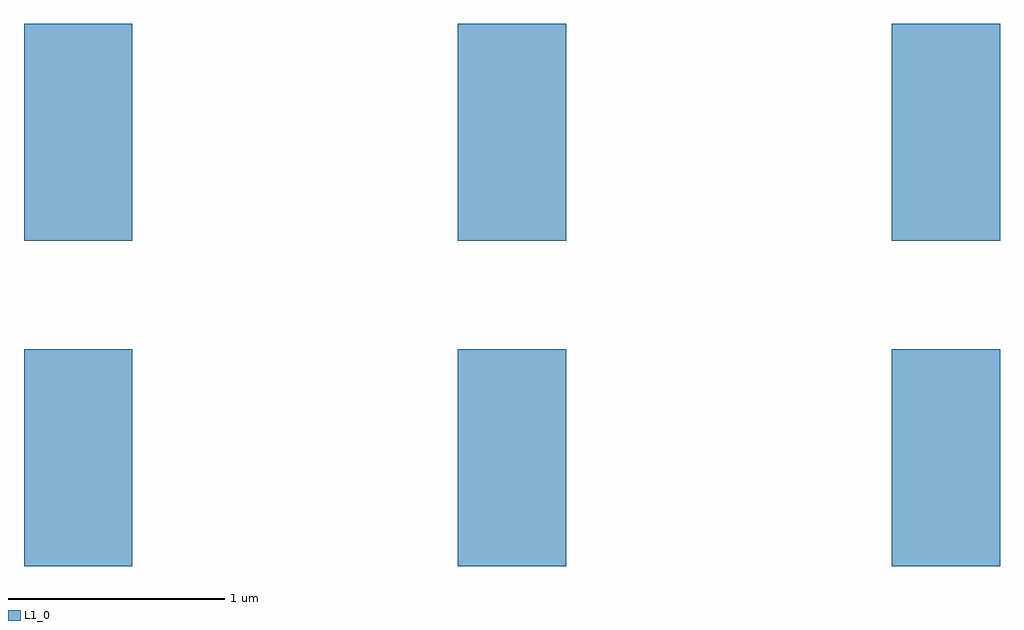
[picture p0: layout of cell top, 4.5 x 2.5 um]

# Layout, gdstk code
from math import pi, radians
import gdstk
lib = gdstk.Library(unit=1e-6, precision=1e-09)
def R(c, l, rs):  # rectangles x0, y0, x1, y1
    for r in rs: c.add(gdstk.rectangle(r[:2], r[2:], *l))
L1_0 = (1, 0)

leaf = lib.new_cell('leaf')
R(leaf, L1_0, [(0,0,1,0.5)])

top = lib.new_cell('top')
r = gdstk.Reference(leaf, (0,0), rotation=pi/2); r.repetition = gdstk.Repetition(3, 2, v1=(2,0), v2=(0,1.5)); top.add(r)

lib.write_gds('top.gds')
